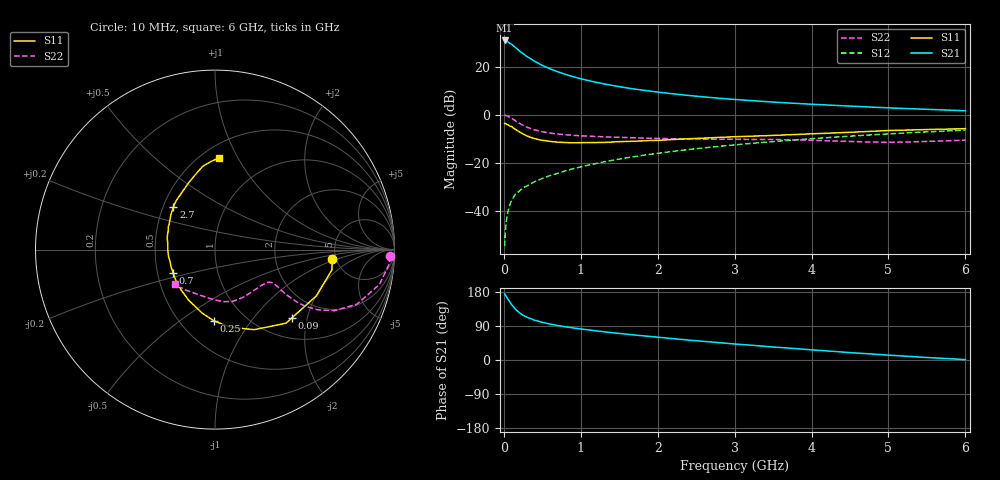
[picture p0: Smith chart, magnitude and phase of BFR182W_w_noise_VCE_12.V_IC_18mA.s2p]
! (c) 2017  Infineon Technologies AG, Munich
! Infineon Technologies  Discrete & RF Semiconductors
! BFR182W
! VCE =  12. V,  IC =  18 mA
! Common Emitter S-Parameters:  Jan 2017
# GHz  S  MA  R  50
!  f  S11  S21  S12  S22
! GHz  MAG  ANG  MAG  ANG  MAG  ANG  MAG  ANG
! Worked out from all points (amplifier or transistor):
!   77 points, 10 MHz to 6 GHz, reference 50 ohm
!   highest |S21| = 31.0 dB at 10 MHz (marker M1)
!   |S21| within 3 dB of that: start of sweep to 153.7 MHz
!   unconditionally stable (mu >= 1): 894.2 MHz to 2.493 GHz
!   at 130 MHz: K = 0.40, MSG = 31.4 dB, |S12| = -34.2 dB
!   at 2.2 GHz: K = 1.02, MAG = 11.2 dB, |S12| = -15.3 dB
!   at 6 GHz: K = 0.86, MSG = 4.1 dB, |S12| = -6.4 dB
!   lowest NFmin = 1.34 dB at 450 MHz
!   S11 on the Smith chart (normalised r, x): 10 MHz: 4.62, -0.87; 90 MHz: 1.43, -1.62; 250 MHz: 0.72, -0.68; 700 MHz: 0.60, -0.17; 2.7 GHz: 0.57, +0.30; 6 GHz: 0.61, +0.84
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0.01  0.6549 -4.7  35.61 174.7  0.0018 74.5  0.9773 -2.2
0.02  0.6612 -9.8  35.36 171.7  0.0037 81.2  0.9725 -4.9
0.05  0.6214 -24.4  33.62 161.4  0.009 75.3  0.9373 -11.9
0.09  0.5732 -41.4  30.31 149.5  0.0147 72.2  0.8631 -19.1
0.1  0.5698 -46.0  29.71 146.1  0.0161 71.8  0.8469 -21.1
0.15  0.4967 -63.9  25.5 134.2  0.0218 66.4  0.7472 -27.1
0.2  0.4414 -78.7  21.82 125.2  0.0253 64.4  0.6649 -30.3
0.25  0.3969 -90.9  18.88 118.1  0.03 63.6  0.6003 -32.0
0.3  0.361 -101.4  16.45 112.9  0.0325 63.3  0.5494 -32.6
0.4  0.318 -117.4  13.05 105.0  0.0399 64.7  0.483 -32.4
0.5  0.2925 -130.8  10.73 99.4  0.0467 66.3  0.4411 -31.7
0.6  0.2777 -141.6  9.124 94.9  0.0536 66.7  0.4144 -30.9
0.7  0.2676 -151.0  7.902 91.1  0.0598 68.1  0.3957 -30.3
0.9  0.2592 -165.2  6.234 84.7  0.0747 69.0  0.3721 -30.1
1.1  0.2624 -176.9  5.172 79.5  0.0888 69.6  0.3576 -30.7
1.5  0.2743 166.1  3.864 70.2  0.1185 68.8  0.337 -34.0
2.1  0.2975 148.1  2.851 58.3  0.1641 66.4  0.318 -43.2
2.7  0.3306 134.6  2.285 47.5  0.2111 62.8  0.309 -55.2
3.1  0.3518 126.4  2.036 40.8  0.2428 59.9  0.3064 -63.2
4.1  0.4052 110.3  1.628 25.4  0.3244 51.8  0.2896 -83.3
5.1  0.4726 97.3  1.373 11.6  0.406 42.6  0.2675 -112.5
6  0.5121 87.4  1.212 1.0  0.4767 33.8  0.2959 -139.6
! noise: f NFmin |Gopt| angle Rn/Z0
0.45  1.34  0.07  174  0.15
0.9  1.41  0.08  179  0.15
1.9  1.93  0.27  -144  0.15
2.4  2.18  0.27  -129  0.24
